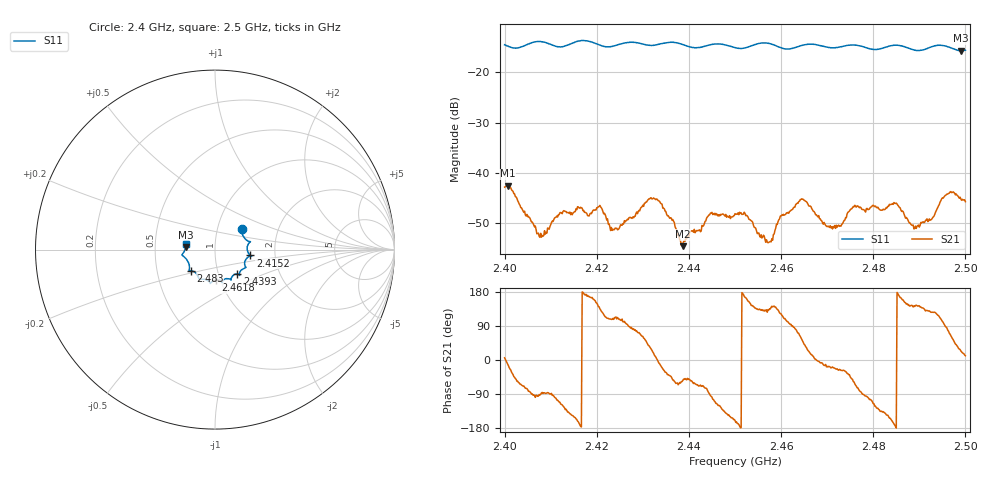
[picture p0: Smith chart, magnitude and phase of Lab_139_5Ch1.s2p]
# Hz S RI R 50
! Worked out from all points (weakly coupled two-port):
!   601 points, 2.4 GHz to 2.5 GHz, reference 50 ohm
!   highest |S21| = -42.56 dB at 2.4007 GHz (marker M1); lowest = -54.6 dB at 2.4387 GHz (marker M2)
!   lowest |S11| = -15.7 dB at 2.499 GHz (marker M3), VSWR 1.39, Z = 35.9 + j1.09 ohm
!   |S11| at or under -10 dB: start of sweep to end of sweep
!   S12 and S22 are empty: the file has one direction only
!   S11 on the Smith chart (normalised r, x): 2.4 GHz: 1.31, +0.31; 2.4152 GHz: 1.48, -0.10; 2.4393 GHz: 1.23, -0.35; 2.4618 GHz: 0.95, -0.33; 2.483 GHz: 0.74, -0.18; 2.5 GHz: 0.72, +0.05
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2.4e9  0.1498 0.1136  0.00717 0.000719  0 0  0 0
2.400667e9  0.15 0.1042  0.00732 -0.00136  0 0  0 0
2.408e9  0.1973 0.0437  0.000126 -0.00229  0 0  0 0
2.415167e9  0.1964 -0.0328  -0.0036 -0.00198  0 0  0 0
2.416667e9  0.2036 -0.0378  -0.00448 -0.000263  0 0  0 0
2.424167e9  0.1654 -0.0834  -0.00113 0.00257  0 0  0 0
2.433333e9  0.1365 -0.1317  0.00527 -0.000418  0 0  0 0
2.438667e9  0.1301 -0.1371  0.00109 -0.00151  0 0  0 0
2.439333e9  0.1251 -0.1354  0.0014 -0.00174  0 0  0 0
2.4445e9  0.0888 -0.1649  -6.52e-07 -0.00382  0 0  0 0
2.45e9  0.0696 -0.1619  -0.00368 -0.00138  0 0  0 0
2.457167e9  0.0441 -0.1901  -0.00138 0.00148  0 0  0 0
2.461833e9  0.00418 -0.1708  -0.000434 0.00411  0 0  0 0
2.466667e9  -0.0262 -0.1889  0.00427 0.00105  0 0  0 0
2.471333e9  -0.0534 -0.1669  0.00274 -0.00103  0 0  0 0
2.476e9  -0.088 -0.1649  0.00218 -0.00423  0 0  0 0
2.483e9  -0.1355 -0.1181  -0.00371 -0.00253  0 0  0 0
2.483333e9  -0.1382 -0.118  -0.004 -0.00236  0 0  0 0
2.489333e9  -0.1457 -0.0776  -0.00228 0.00162  0 0  0 0
2.496333e9  -0.1779 -0.0201  0.0015 0.00606  0 0  0 0
2.499e9  -0.1634 0.0148  0.00505 0.00227  0 0  0 0
2.5e9  -0.163 0.0326  0.00508 0.00101  0 0  0 0
